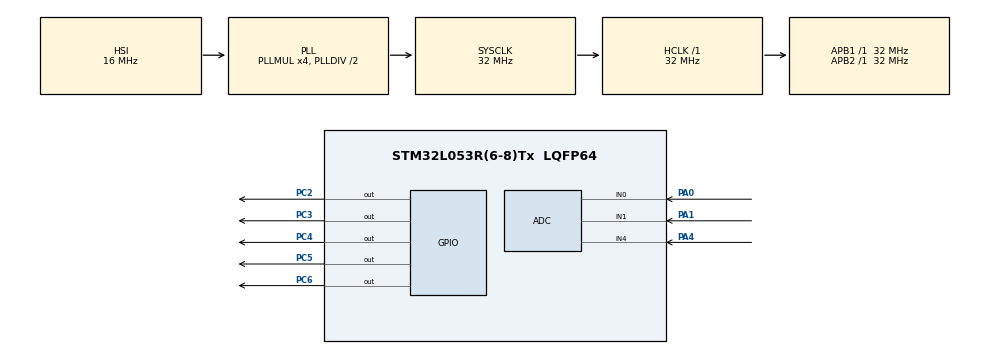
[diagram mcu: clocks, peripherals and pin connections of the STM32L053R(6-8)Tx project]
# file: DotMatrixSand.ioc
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ADC.ContinuousConvMode=ENABLE
ADC.DMAContinuousRequests=ENABLE
ADC.SamplingTime=ADC_SAMPLETIME_160CYCLES_5
Dma.ADC.0.Direction=DMA_PERIPH_TO_MEMORY
Dma.ADC.0.Instance=DMA1_Channel1
Dma.ADC.0.MemDataAlignment=DMA_MDATAALIGN_HALFWORD
Dma.ADC.0.MemInc=DMA_MINC_ENABLE
Dma.ADC.0.Mode=DMA_CIRCULAR
Dma.ADC.0.PeriphDataAlignment=DMA_PDATAALIGN_HALFWORD
Dma.ADC.0.PeriphInc=DMA_PINC_DISABLE
Dma.ADC.0.Priority=DMA_PRIORITY_LOW
Dma.Request0=ADC
Mcu.Family=STM32L0
Mcu.Name=STM32L053R(6-8)Tx
Mcu.Package=LQFP64
NVIC.DMA1_Channel1_IRQn=true\:0\:0\:false\:false\:true\:false\:true
NVIC.TIM6_DAC_IRQn=true\:0\:0\:false\:false\:true\:true\:true
PA0.Mode=IN0
PA0.Signal=ADC_IN0
PA1.Mode=IN1
PA1.Signal=ADC_IN1
PA4.Mode=IN4
PA4.Signal=ADC_IN4
PC2.Signal=GPIO_Output
PC3.Signal=GPIO_Output
PC4.Signal=GPIO_Output
PC5.Signal=GPIO_Output
PC6.Signal=GPIO_Output
ProjectManager.HeapSize=0x200
ProjectManager.StackSize=0x400
ProjectManager.TargetToolchain=MDK-ARM V5
RCC.AHBFreq_Value=32000000
RCC.APB1Freq_Value=32000000
RCC.APB1TimFreq_Value=32000000
RCC.APB2Freq_Value=32000000
RCC.APB2TimFreq_Value=32000000
RCC.HCLKFreq_Value=32000000
RCC.HSE_VALUE=8000000
RCC.HSI16_VALUE=16000000
RCC.HSI48_VALUE=48000000
RCC.HSI_VALUE=16000000
RCC.LSE_VALUE=32768
RCC.MSI_VALUE=2097000
RCC.PLLMUL=RCC_PLLMUL_4
RCC.SYSCLKFreq_VALUE=32000000
RCC.SYSCLKSource=RCC_SYSCLKSOURCE_PLLCLK
RCC.VCOOutputFreq_Value=64000000
TIM6.Period=999
TIM6.Prescaler=16
VP_TIM6_VS_ClockSourceINT.Mode=Enable_Timer
board=custom

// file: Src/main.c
/* USER CODE BEGIN Header */
/**
  ******************************************************************************
  * @file           : main.c
  * @brief          : Main program body
  ******************************************************************************
  * @attention
  *
  * <h2><center>&copy; Copyright (c) 2020 STMicroelectronics.
  * All rights reserved.</center></h2>
  *
  * This software component is licensed by ST under BSD 3-Clause license,
  * the "License"; You may not use this file except in compliance with the
  * License. You may obtain a copy of the License at:
  *                        opensource.org/licenses/BSD-3-Clause
  *
  ******************************************************************************
  */
/* USER CODE END Header */

#include "main.h"

/* USER CODE BEGIN Includes */
#include "dotmatrix_8x8.h"
#include <string.h>
/* USER CODE END Includes */

ADC_HandleTypeDef hadc;
DMA_HandleTypeDef hdma_adc;

TIM_HandleTypeDef htim6;

void SystemClock_Config(void);
static void MX_GPIO_Init(void);
static void MX_DMA_Init(void);
static void MX_ADC_Init(void);
static void MX_TIM6_Init(void);
/* USER CODE BEGIN PFP */
uint16_t acc_value[3];
int dotPosX = 0;
int dotPosY = 0;
/* USER CODE END PFP */

int main(void)
{

  /* MCU Configuration--------------------------------------------------------*/

  /* Reset of all peripherals, Initializes the Flash interface and the Systick. */
  HAL_Init();

  /* Configure the system clock */
  SystemClock_Config();

  /* Initialize all configured peripherals */
  MX_GPIO_Init();
  MX_DMA_Init();
  MX_ADC_Init();
  MX_TIM6_Init();
  /* USER CODE BEGIN 2 */
  HAL_ADC_Start_DMA(&hadc, (uint32_t*) acc_value, 3);
  HAL_TIM_Base_Start_IT(&htim6);
  /* USER CODE END 2 */

  /* Infinite loop */
  /* USER CODE BEGIN WHILE */
  while (1)
  {
    if (acc_value[0] < 1800) {
      dotPosX = 0;
    } else if (acc_value[0] < 1900) {
      dotPosX = 1;
    } else if (acc_value[0] < 2000) {
      dotPosX = 2;
    } else if (acc_value[0] < 2100) {
      dotPosX = 3;
    } else if (acc_value[0] < 2200) {
      dotPosX = 4;
    } else if (acc_value[0] < 2300) {
      dotPosX = 5;
    } else {
      dotPosX = 6;
    }
    if (acc_value[1] < 1800) {
      dotPosY = 6;
    } else if (acc_value[1] < 1900) {
      dotPosY = 5;
    } else if (acc_value[1] < 2000) {
      dotPosY = 4;
    } else if (acc_value[1] < 2100) {
      dotPosY = 3;
    } else if (acc_value[1] < 2200) {
      dotPosY = 2;
    } else if (acc_value[1] < 2300) {
      dotPosY = 1;
    } else {
      dotPosY = 0;
    }
    uint8_t buff[8];
    memset(buff, 0, 8);
    buff[dotPosY] = 0xC0>>dotPosX;
    buff[dotPosY + 1] = 0xC0>>dotPosX;
    dotmatrix_put(buff);
    HAL_Delay(50);
    /* USER CODE END WHILE */

  }
}

void SystemClock_Config(void)
{
  RCC_OscInitTypeDef RCC_OscInitStruct = {0};
  RCC_ClkInitTypeDef RCC_ClkInitStruct = {0};

  /** Configure the main internal regulator output voltage
  */
  __HAL_PWR_VOLTAGESCALING_CONFIG(PWR_REGULATOR_VOLTAGE_SCALE1);
  /** Initializes the CPU, AHB and APB busses clocks
  */
  RCC_OscInitStruct.OscillatorType = RCC_OSCILLATORTYPE_HSI;
  RCC_OscInitStruct.HSIState = RCC_HSI_ON;
  RCC_OscInitStruct.HSICalibrationValue = RCC_HSICALIBRATION_DEFAULT;
  RCC_OscInitStruct.PLL.PLLState = RCC_PLL_ON;
  RCC_OscInitStruct.PLL.PLLSource = RCC_PLLSOURCE_HSI;
  RCC_OscInitStruct.PLL.PLLMUL = RCC_PLLMUL_4;
  RCC_OscInitStruct.PLL.PLLDIV = RCC_PLLDIV_2;
  if (HAL_RCC_OscConfig(&RCC_OscInitStruct) != HAL_OK)
  {
    Error_Handler();
  }
  /** Initializes the CPU, AHB and APB busses clocks
  */
  RCC_ClkInitStruct.ClockType = RCC_CLOCKTYPE_HCLK|RCC_CLOCKTYPE_SYSCLK
                              |RCC_CLOCKTYPE_PCLK1|RCC_CLOCKTYPE_PCLK2;
  RCC_ClkInitStruct.SYSCLKSource = RCC_SYSCLKSOURCE_PLLCLK;
  RCC_ClkInitStruct.AHBCLKDivider = RCC_SYSCLK_DIV1;
  RCC_ClkInitStruct.APB1CLKDivider = RCC_HCLK_DIV1;
  RCC_ClkInitStruct.APB2CLKDivider = RCC_HCLK_DIV1;

  if (HAL_RCC_ClockConfig(&RCC_ClkInitStruct, FLASH_LATENCY_1) != HAL_OK)
  {
    Error_Handler();
  }
}

static void MX_ADC_Init(void)
{

  ADC_ChannelConfTypeDef sConfig = {0};

  /** Configure the global features of the ADC (Clock, Resolution, Data Alignment and number of conversion)
  */
  hadc.Instance = ADC1;
  hadc.Init.OversamplingMode = DISABLE;
  hadc.Init.ClockPrescaler = ADC_CLOCK_SYNC_PCLK_DIV2;
  hadc.Init.Resolution = ADC_RESOLUTION_12B;
  hadc.Init.SamplingTime = ADC_SAMPLETIME_160CYCLES_5;
  hadc.Init.ScanConvMode = ADC_SCAN_DIRECTION_FORWARD;
  hadc.Init.DataAlign = ADC_DATAALIGN_RIGHT;
  hadc.Init.ContinuousConvMode = ENABLE;
  hadc.Init.DiscontinuousConvMode = DISABLE;
  hadc.Init.ExternalTrigConvEdge = ADC_EXTERNALTRIGCONVEDGE_NONE;
  hadc.Init.ExternalTrigConv = ADC_SOFTWARE_START;
  hadc.Init.DMAContinuousRequests = ENABLE;
  hadc.Init.EOCSelection = ADC_EOC_SINGLE_CONV;
  hadc.Init.Overrun = ADC_OVR_DATA_PRESERVED;
  hadc.Init.LowPowerAutoWait = DISABLE;
  hadc.Init.LowPowerFrequencyMode = DISABLE;
  hadc.Init.LowPowerAutoPowerOff = DISABLE;
  if (HAL_ADC_Init(&hadc) != HAL_OK)
  {
    Error_Handler();
  }
  /** Configure for the selected ADC regular channel to be converted.
  */
  sConfig.Channel = ADC_CHANNEL_0;
  sConfig.Rank = ADC_RANK_CHANNEL_NUMBER;
  if (HAL_ADC_ConfigChannel(&hadc, &sConfig) != HAL_OK)
  {
    Error_Handler();
  }
  /** Configure for the selected ADC regular channel to be converted.
  */
  sConfig.Channel = ADC_CHANNEL_1;
  if (HAL_ADC_ConfigChannel(&hadc, &sConfig) != HAL_OK)
  {
    Error_Handler();
  }
  /** Configure for the selected ADC regular channel to be converted.
  */
  sConfig.Channel = ADC_CHANNEL_4;
  if (HAL_ADC_ConfigChannel(&hadc, &sConfig) != HAL_OK)
  {
    Error_Handler();
  }

}

static void MX_TIM6_Init(void)
{

  TIM_MasterConfigTypeDef sMasterConfig = {0};

  htim6.Instance = TIM6;
  htim6.Init.Prescaler = 16;
  htim6.Init.CounterMode = TIM_COUNTERMODE_UP;
  htim6.Init.Period = 999;
  htim6.Init.AutoReloadPreload = TIM_AUTORELOAD_PRELOAD_DISABLE;
  if (HAL_TIM_Base_Init(&htim6) != HAL_OK)
  {
    Error_Handler();
  }
  sMasterConfig.MasterOutputTrigger = TIM_TRGO_RESET;
  sMasterConfig.MasterSlaveMode = TIM_MASTERSLAVEMODE_DISABLE;
  if (HAL_TIMEx_MasterConfigSynchronization(&htim6, &sMasterConfig) != HAL_OK)
  {
    Error_Handler();
  }

}

static void MX_DMA_Init(void)
{
  /* DMA controller clock enable */
  __HAL_RCC_DMA1_CLK_ENABLE();

  /* DMA interrupt init */
  /* DMA1_Channel1_IRQn interrupt configuration */
  HAL_NVIC_SetPriority(DMA1_Channel1_IRQn, 0, 0);
  HAL_NVIC_EnableIRQ(DMA1_Channel1_IRQn);

}

static void MX_GPIO_Init(void)
{
  GPIO_InitTypeDef GPIO_InitStruct = {0};

  /* GPIO Ports Clock Enable */
  __HAL_RCC_GPIOC_CLK_ENABLE();
  __HAL_RCC_GPIOA_CLK_ENABLE();

  /*Configure GPIO pin Output Level */
  HAL_GPIO_WritePin(GPIOC, GPIO_PIN_2|GPIO_PIN_3|GPIO_PIN_4|GPIO_PIN_5
                          |GPIO_PIN_6, GPIO_PIN_RESET);

  /*Configure GPIO pins : PC2 PC3 PC4 PC5
                           PC6 */
  GPIO_InitStruct.Pin = GPIO_PIN_2|GPIO_PIN_3|GPIO_PIN_4|GPIO_PIN_5
                          |GPIO_PIN_6;
  GPIO_InitStruct.Mode = GPIO_MODE_OUTPUT_PP;
  GPIO_InitStruct.Pull = GPIO_NOPULL;
  GPIO_InitStruct.Speed = GPIO_SPEED_FREQ_LOW;
  HAL_GPIO_Init(GPIOC, &GPIO_InitStruct);

}

void Error_Handler(void)
{
}

/************************ (C) COPYRIGHT STMicroelectronics *****END OF FILE****/
